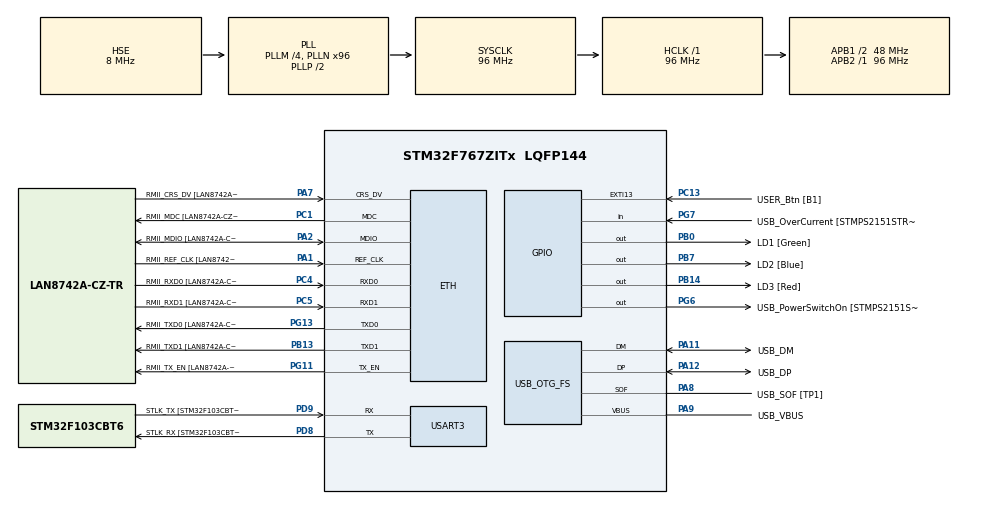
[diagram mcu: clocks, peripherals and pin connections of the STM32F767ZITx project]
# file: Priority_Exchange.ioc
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ETH.MediaInterface=HAL_ETH_RMII_MODE
ETH.PHY_Name=LAN8742A_PHY_ADDRESS
ETH.PHY_Value=0
ETH.PhyAddress=0
Mcu.Family=STM32F7
Mcu.Name=STM32F767ZITx
Mcu.Package=LQFP144
NVIC.EXTI15_10_IRQn=true\:6\:0\:true\:false\:true\:true\:true\:true
NVIC.PriorityGroup=NVIC_PRIORITYGROUP_4
NVIC.TIM6_DAC_IRQn=true\:15\:0\:false\:false\:true\:false\:true\:true
NVIC.TimeBase=TIM6_DAC_IRQn
NVIC.TimeBaseIP=TIM6
PA1.GPIO_Label=RMII_REF_CLK [LAN8742A-CZ-TR_REFCLK0]
PA1.Mode=RMII
PA1.Signal=ETH_REF_CLK
PA10.GPIO_Label=USB_ID
PA10.Signal=USB_OTG_FS_ID
PA11.GPIO_Label=USB_DM
PA11.Mode=Device_Only
PA11.Signal=USB_OTG_FS_DM
PA12.GPIO_Label=USB_DP
PA12.Mode=Device_Only
PA12.Signal=USB_OTG_FS_DP
PA13.GPIO_Label=TMS
PA13.Mode=Serial_Wire
PA13.Signal=SYS_JTMS-SWDIO
PA14.GPIO_Label=TCK
PA14.Mode=Serial_Wire
PA14.Signal=SYS_JTCK-SWCLK
PA2.GPIO_Label=RMII_MDIO [LAN8742A-CZ-TR_MDIO]
PA2.Mode=RMII
PA2.Signal=ETH_MDIO
PA7.GPIO_Label=RMII_CRS_DV [LAN8742A-CZ-TR_CRS_DV]
PA7.Mode=RMII
PA7.Signal=ETH_CRS_DV
PA8.GPIO_Label=USB_SOF [TP1]
PA8.Mode=Activate_SOF_FS
PA8.Signal=USB_OTG_FS_SOF
PA9.GPIO_Label=USB_VBUS
PA9.Mode=Activate_VBUS
PA9.Signal=USB_OTG_FS_VBUS
PB0.GPIO_Label=LD1 [Green]
PB0.Signal=GPIO_Output
PB13.GPIO_Label=RMII_TXD1 [LAN8742A-CZ-TR_TXD1]
PB13.Mode=RMII
PB13.Signal=ETH_TXD1
PB14.GPIO_Label=LD3 [Red]
PB14.Signal=GPIO_Output
PB3.GPIO_Label=SWO
PB3.Signal=SYS_JTDO-SWO
PB7.GPIO_Label=LD2 [Blue]
PB7.Signal=GPIO_Output
PC1.GPIO_Label=RMII_MDC [LAN8742A-CZ-TR_MDC]
PC1.Mode=RMII
PC1.Signal=ETH_MDC
PC13.GPIO_Label=USER_Btn [B1]
PC13.GPIO_ModeDefaultEXTI=GPIO_MODE_IT_FALLING
PC13.Signal=GPXTI13
PC14/OSC32_IN.Mode=LSE-External-Oscillator
PC14/OSC32_IN.Signal=RCC_OSC32_IN
PC15/OSC32_OUT.Mode=LSE-External-Oscillator
PC15/OSC32_OUT.Signal=RCC_OSC32_OUT
PC4.GPIO_Label=RMII_RXD0 [LAN8742A-CZ-TR_RXD0]
PC4.Mode=RMII
PC4.Signal=ETH_RXD0
PC5.GPIO_Label=RMII_RXD1 [LAN8742A-CZ-TR_RXD1]
PC5.Mode=RMII
PC5.Signal=ETH_RXD1
PD8.GPIO_Label=STLK_RX [STM32F103CBT6_PA3]
PD8.Mode=Asynchronous
PD8.Signal=USART3_TX
PD9.GPIO_Label=STLK_TX [STM32F103CBT6_PA2]
PD9.Mode=Asynchronous
PD9.Signal=USART3_RX
PG11.GPIO_Label=RMII_TX_EN [LAN8742A-CZ-TR_TXEN]
PG11.Mode=RMII
PG11.Signal=ETH_TX_EN
PG13.GPIO_Label=RMII_TXD0 [LAN8742A-CZ-TR_TXD0]
PG13.Mode=RMII
PG13.Signal=ETH_TXD0
PG6.GPIO_Label=USB_PowerSwitchOn [STMPS2151STR_EN]
PG6.Signal=GPIO_Output
PG7.GPIO_Label=USB_OverCurrent [STMPS2151STR_FAULT]
PG7.Signal=GPIO_Input
PH0/OSC_IN.GPIO_Label=MCO [STM32F103CBT6_PA8]
PH0/OSC_IN.Mode=HSE-External-Clock-Source
PH0/OSC_IN.Signal=RCC_OSC_IN
PH1/OSC_OUT.Mode=HSE-External-Clock-Source
PH1/OSC_OUT.Signal=RCC_OSC_OUT
ProjectManager.HeapSize=0x200
ProjectManager.StackSize=0x400
ProjectManager.TargetToolchain=STM32CubeIDE
RCC.48MHZClocksFreq_Value=24000000
RCC.AHBFreq_Value=96000000
RCC.APB1CLKDivider=RCC_HCLK_DIV2
RCC.APB1Freq_Value=48000000
RCC.APB1TimFreq_Value=96000000
RCC.APB2Freq_Value=96000000
RCC.APB2TimFreq_Value=96000000
RCC.CortexFreq_Value=96000000
RCC.HCLKFreq_Value=96000000
RCC.HSE_VALUE=8000000
RCC.HSI_VALUE=16000000
RCC.PLLM=4
RCC.PLLMUL=RCC_PLL_MUL9
RCC.PLLN=96
RCC.PLLQ=4
RCC.PRESCALERUSB=RCC_USBCLKSOURCE_PLL_DIV1_5
RCC.SYSCLKFreq_VALUE=96000000
RCC.SYSCLKSource=RCC_SYSCLKSOURCE_PLLCLK
RCC.SYSCLKSourceVirtual=RCC_SYSCLKSOURCE_PLLCLK
RCC.USBFreq_Value=48000000
RCC.VCOOutputFreq_Value=192000000
USART3.VirtualMode-Asynchronous=VM_ASYNC
USB_OTG_FS.VirtualMode=Device_Only
VP_SYS_VS_tim6.Mode=TIM6
board=NUCLEO-F767ZI

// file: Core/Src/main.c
/* USER CODE BEGIN Header */
/**
 ******************************************************************************
 * @file           : main.c
 * @brief          : Main program body
 ******************************************************************************
 * @attention
 *
 * Copyright (c) 2024 STMicroelectronics.
 * All rights reserved.
 *
 * This software is licensed under terms that can be found in the LICENSE file
 * in the root directory of this software component.
 * If no LICENSE file comes with this software, it is provided AS-IS.
 *
 ******************************************************************************
 */
/* USER CODE END Header */
#include "main.h"
#include "string.h"

/* USER CODE BEGIN Includes */
#include "FreeRTOS.h"
#include "task.h"
/* USER CODE END Includes */

#if defined ( __ICCARM__ ) /*!< IAR Compiler */
#pragma location=0x2007c000
ETH_DMADescTypeDef  DMARxDscrTab[ETH_RX_DESC_CNT]; /* Ethernet Rx DMA Descriptors */
#pragma location=0x2007c0a0
ETH_DMADescTypeDef  DMATxDscrTab[ETH_TX_DESC_CNT]; /* Ethernet Tx DMA Descriptors */

#elif defined ( __CC_ARM )  /* MDK ARM Compiler */

__attribute__((at(0x2007c000))) ETH_DMADescTypeDef  DMARxDscrTab[ETH_RX_DESC_CNT]; /* Ethernet Rx DMA Descriptors */
__attribute__((at(0x2007c0a0))) ETH_DMADescTypeDef  DMATxDscrTab[ETH_TX_DESC_CNT]; /* Ethernet Tx DMA Descriptors */

#elif defined ( __GNUC__ ) /* GNU Compiler */

ETH_DMADescTypeDef DMARxDscrTab[ETH_RX_DESC_CNT] __attribute__((section(".RxDecripSection"))); /* Ethernet Rx DMA Descriptors */
ETH_DMADescTypeDef DMATxDscrTab[ETH_TX_DESC_CNT] __attribute__((section(".TxDecripSection")));   /* Ethernet Tx DMA Descriptors */
#endif

ETH_TxPacketConfig TxConfig;

ETH_HandleTypeDef heth;

UART_HandleTypeDef huart3;

PCD_HandleTypeDef hpcd_USB_OTG_FS;

/* USER CODE BEGIN PV */

TaskHandle_t RedLEDTaskHandle;
TaskHandle_t GreenLEDTaskHandle;

volatile BaseType_t status_button = 0;

/* USER CODE END PV */

void SystemClock_Config(void);
static void MX_GPIO_Init(void);
static void MX_ETH_Init(void);
static void MX_USART3_UART_Init(void);
static void MX_USB_OTG_FS_PCD_Init(void);
/* USER CODE BEGIN PFP */

void Switch_priority(void);
void Button_interrupt_handler(void);
static void RedLEDTaskHandler(void* parameters);
static void GreenLEDTaskHandler(void* parameters);

/* USER CODE END PFP */

int main(void)
{

  /* USER CODE BEGIN 1 */

	BaseType_t status;

  /* USER CODE END 1 */

  /* MCU Configuration--------------------------------------------------------*/

  /* Reset of all peripherals, Initializes the Flash interface and the Systick. */
  HAL_Init();

  /* Configure the system clock */
  SystemClock_Config();

  /* USER CODE BEGIN SysInit */
	CoreDebug->DEMCR |= CoreDebug_DEMCR_TRCENA_Msk;
	DWT->LAR = 0xC5ACCE55;
	DWT->CYCCNT = 0;
	DWT->CTRL |= DWT_CTRL_CYCCNTENA_Msk;

	SEGGER_SYSVIEW_Conf();
	SEGGER_SYSVIEW_Start();

  /* USER CODE END SysInit */

  /* Initialize all configured peripherals */
  MX_GPIO_Init();
  MX_ETH_Init();
  MX_USART3_UART_Init();
  MX_USB_OTG_FS_PCD_Init();
  /* USER CODE BEGIN 2 */
	status = xTaskCreate(
			RedLEDTaskHandler, "RedLEDTask", 200, NULL, 2, &RedLEDTaskHandle);
	configASSERT(status == pdPASS);

	status = xTaskCreate(
			GreenLEDTaskHandler, "GreenLEDTask", 200, NULL, 3, &GreenLEDTaskHandle);
	configASSERT(status == pdPASS);

	vTaskStartScheduler();
  /* USER CODE END 2 */

  /* Infinite loop */
	while (1)
	{

	}
}

void SystemClock_Config(void)
{
  RCC_OscInitTypeDef RCC_OscInitStruct = {0};
  RCC_ClkInitTypeDef RCC_ClkInitStruct = {0};

  /** Configure LSE Drive Capability
  */
  HAL_PWR_EnableBkUpAccess();

  /** Configure the main internal regulator output voltage
  */
  __HAL_RCC_PWR_CLK_ENABLE();
  __HAL_PWR_VOLTAGESCALING_CONFIG(PWR_REGULATOR_VOLTAGE_SCALE3);

  /** Initializes the RCC Oscillators according to the specified parameters
  * in the RCC_OscInitTypeDef structure.
  */
  RCC_OscInitStruct.OscillatorType = RCC_OSCILLATORTYPE_HSE;
  RCC_OscInitStruct.HSEState = RCC_HSE_BYPASS;
  RCC_OscInitStruct.PLL.PLLState = RCC_PLL_ON;
  RCC_OscInitStruct.PLL.PLLSource = RCC_PLLSOURCE_HSE;
  RCC_OscInitStruct.PLL.PLLM = 4;
  RCC_OscInitStruct.PLL.PLLN = 96;
  RCC_OscInitStruct.PLL.PLLP = RCC_PLLP_DIV2;
  RCC_OscInitStruct.PLL.PLLQ = 4;
  RCC_OscInitStruct.PLL.PLLR = 2;
  if (HAL_RCC_OscConfig(&RCC_OscInitStruct) != HAL_OK)
  {
    Error_Handler();
  }

  /** Activate the Over-Drive mode
  */
  if (HAL_PWREx_EnableOverDrive() != HAL_OK)
  {
    Error_Handler();
  }

  /** Initializes the CPU, AHB and APB buses clocks
  */
  RCC_ClkInitStruct.ClockType = RCC_CLOCKTYPE_HCLK|RCC_CLOCKTYPE_SYSCLK
                              |RCC_CLOCKTYPE_PCLK1|RCC_CLOCKTYPE_PCLK2;
  RCC_ClkInitStruct.SYSCLKSource = RCC_SYSCLKSOURCE_PLLCLK;
  RCC_ClkInitStruct.AHBCLKDivider = RCC_SYSCLK_DIV1;
  RCC_ClkInitStruct.APB1CLKDivider = RCC_HCLK_DIV2;
  RCC_ClkInitStruct.APB2CLKDivider = RCC_HCLK_DIV1;

  if (HAL_RCC_ClockConfig(&RCC_ClkInitStruct, FLASH_LATENCY_3) != HAL_OK)
  {
    Error_Handler();
  }
}

static void MX_ETH_Init(void)
{

   static uint8_t MACAddr[6];

  heth.Instance = ETH;
  MACAddr[0] = 0x00;
  MACAddr[1] = 0x80;
  MACAddr[2] = 0xE1;
  MACAddr[3] = 0x00;
  MACAddr[4] = 0x00;
  MACAddr[5] = 0x00;
  heth.Init.MACAddr = &MACAddr[0];
  heth.Init.MediaInterface = HAL_ETH_RMII_MODE;
  heth.Init.TxDesc = DMATxDscrTab;
  heth.Init.RxDesc = DMARxDscrTab;
  heth.Init.RxBuffLen = 1524;

  if (HAL_ETH_Init(&heth) != HAL_OK)
  {
    Error_Handler();
  }

  memset(&TxConfig, 0 , sizeof(ETH_TxPacketConfig));
  TxConfig.Attributes = ETH_TX_PACKETS_FEATURES_CSUM | ETH_TX_PACKETS_FEATURES_CRCPAD;
  TxConfig.ChecksumCtrl = ETH_CHECKSUM_IPHDR_PAYLOAD_INSERT_PHDR_CALC;
  TxConfig.CRCPadCtrl = ETH_CRC_PAD_INSERT;

}

static void MX_USART3_UART_Init(void)
{

  huart3.Instance = USART3;
  huart3.Init.BaudRate = 115200;
  huart3.Init.WordLength = UART_WORDLENGTH_8B;
  huart3.Init.StopBits = UART_STOPBITS_1;
  huart3.Init.Parity = UART_PARITY_NONE;
  huart3.Init.Mode = UART_MODE_TX_RX;
  huart3.Init.HwFlowCtl = UART_HWCONTROL_NONE;
  huart3.Init.OverSampling = UART_OVERSAMPLING_16;
  huart3.Init.OneBitSampling = UART_ONE_BIT_SAMPLE_DISABLE;
  huart3.AdvancedInit.AdvFeatureInit = UART_ADVFEATURE_NO_INIT;
  if (HAL_UART_Init(&huart3) != HAL_OK)
  {
    Error_Handler();
  }

}

static void MX_USB_OTG_FS_PCD_Init(void)
{

  hpcd_USB_OTG_FS.Instance = USB_OTG_FS;
  hpcd_USB_OTG_FS.Init.dev_endpoints = 6;
  hpcd_USB_OTG_FS.Init.speed = PCD_SPEED_FULL;
  hpcd_USB_OTG_FS.Init.dma_enable = DISABLE;
  hpcd_USB_OTG_FS.Init.phy_itface = PCD_PHY_EMBEDDED;
  hpcd_USB_OTG_FS.Init.Sof_enable = ENABLE;
  hpcd_USB_OTG_FS.Init.low_power_enable = DISABLE;
  hpcd_USB_OTG_FS.Init.lpm_enable = DISABLE;
  hpcd_USB_OTG_FS.Init.vbus_sensing_enable = ENABLE;
  hpcd_USB_OTG_FS.Init.use_dedicated_ep1 = DISABLE;
  if (HAL_PCD_Init(&hpcd_USB_OTG_FS) != HAL_OK)
  {
    Error_Handler();
  }

}

static void MX_GPIO_Init(void)
{
  GPIO_InitTypeDef GPIO_InitStruct = {0};

  /* GPIO Ports Clock Enable */
  __HAL_RCC_GPIOC_CLK_ENABLE();
  __HAL_RCC_GPIOH_CLK_ENABLE();
  __HAL_RCC_GPIOA_CLK_ENABLE();
  __HAL_RCC_GPIOB_CLK_ENABLE();
  __HAL_RCC_GPIOD_CLK_ENABLE();
  __HAL_RCC_GPIOG_CLK_ENABLE();

  /*Configure GPIO pin Output Level */
  HAL_GPIO_WritePin(GPIOB, LD1_Pin|LD3_Pin|LD2_Pin, GPIO_PIN_RESET);

  /*Configure GPIO pin Output Level */
  HAL_GPIO_WritePin(USB_PowerSwitchOn_GPIO_Port, USB_PowerSwitchOn_Pin, GPIO_PIN_RESET);

  /*Configure GPIO pin : USER_Btn_Pin */
  GPIO_InitStruct.Pin = USER_Btn_Pin;
  GPIO_InitStruct.Mode = GPIO_MODE_IT_FALLING;
  GPIO_InitStruct.Pull = GPIO_NOPULL;
  HAL_GPIO_Init(USER_Btn_GPIO_Port, &GPIO_InitStruct);

  /*Configure GPIO pins : LD1_Pin LD3_Pin LD2_Pin */
  GPIO_InitStruct.Pin = LD1_Pin|LD3_Pin|LD2_Pin;
  GPIO_InitStruct.Mode = GPIO_MODE_OUTPUT_PP;
  GPIO_InitStruct.Pull = GPIO_NOPULL;
  GPIO_InitStruct.Speed = GPIO_SPEED_FREQ_LOW;
  HAL_GPIO_Init(GPIOB, &GPIO_InitStruct);

  /*Configure GPIO pin : USB_PowerSwitchOn_Pin */
  GPIO_InitStruct.Pin = USB_PowerSwitchOn_Pin;
  GPIO_InitStruct.Mode = GPIO_MODE_OUTPUT_PP;
  GPIO_InitStruct.Pull = GPIO_NOPULL;
  GPIO_InitStruct.Speed = GPIO_SPEED_FREQ_LOW;
  HAL_GPIO_Init(USB_PowerSwitchOn_GPIO_Port, &GPIO_InitStruct);

  /*Configure GPIO pin : USB_OverCurrent_Pin */
  GPIO_InitStruct.Pin = USB_OverCurrent_Pin;
  GPIO_InitStruct.Mode = GPIO_MODE_INPUT;
  GPIO_InitStruct.Pull = GPIO_NOPULL;
  HAL_GPIO_Init(USB_OverCurrent_GPIO_Port, &GPIO_InitStruct);

  /* EXTI interrupt init*/
  HAL_NVIC_SetPriority(EXTI15_10_IRQn, 6, 0);
  HAL_NVIC_EnableIRQ(EXTI15_10_IRQn);

}

/* USER CODE BEGIN 4 */
void Switch_priority(void)
{
	TaskHandle_t task1, task2, current_task;
	UBaseType_t priority1, priority2;
	BaseType_t switch_priority = 0;

	portENTER_CRITICAL();

	if(status_button)
	{
		status_button = 0;
		switch_priority = 1;
	}

	portEXIT_CRITICAL();

	if(switch_priority)
	{
//		task1 = xTaskGetHandle("RedLEDTask"); Why is this not working..?
//		task2 = xTaskGetHandle("GreenLEDTask");
		task1 = RedLEDTaskHandle;
		task2 = GreenLEDTaskHandle;

		priority1 = uxTaskPriorityGet(task1);
		priority2 = uxTaskPriorityGet(task2);

		current_task = xTaskGetCurrentTaskHandle();

		if(current_task == task1)
		{
			vTaskPrioritySet(task1, priority2);
			vTaskPrioritySet(task2, priority1);
		}
		else
		{
			vTaskPrioritySet(task2, priority1);
			vTaskPrioritySet(task1, priority2);
		}
	}
}

void Button_interrupt_handler(void)
{
//	vTaskSuspendAll();
	status_button = 1;
//	xTaskResumeAll();
}

static void RedLEDTaskHandler(void* parameters)
{
	while(1)
	{
		HAL_GPIO_TogglePin(GPIOB, GPIO_PIN_14);
		HAL_Delay(100);
//		vTaskDelay(pdMS_TO_TICKS(100));
		Switch_priority();
	}
}

static void GreenLEDTaskHandler(void* parameters)
{
	while(1)
	{
		HAL_GPIO_TogglePin(GPIOB, GPIO_PIN_0);
		HAL_Delay(1000);
//		vTaskDelay(pdMS_TO_TICKS(1000));
		Switch_priority();
	}
}
/* USER CODE END 4 */

void HAL_TIM_PeriodElapsedCallback(TIM_HandleTypeDef *htim)
{
  if (htim->Instance == TIM6) {
    HAL_IncTick();
  }
}

void Error_Handler(void)
{
	__disable_irq();
	while (1)
	{
	}
}
